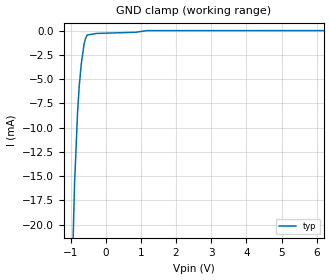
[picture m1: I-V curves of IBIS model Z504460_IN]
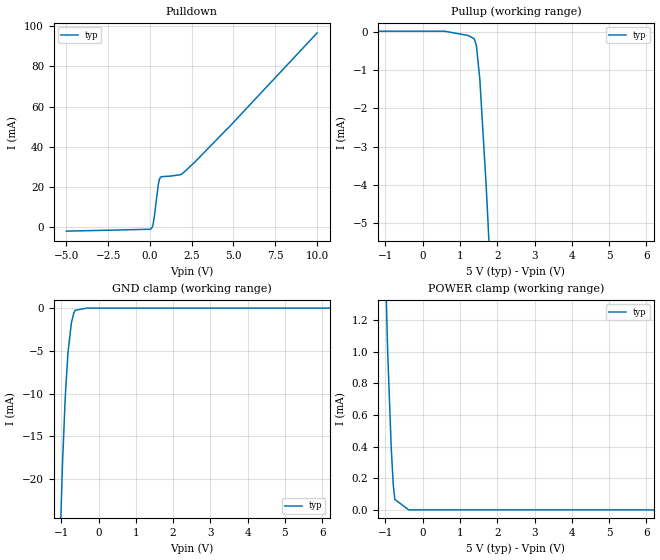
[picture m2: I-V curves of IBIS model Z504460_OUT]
| YOU ARE ONLY AUTHORIZED TO USE THIS SOFTWARE
| ACCORDING TO LICENSOR'S LICENSE RESTRICTIONS.
[IBIS Ver] 3.1
[File Name] sn54ls51j.ibs
[File Rev] 2.0
[Source] Measured and created by ICX Technology
[Date] Friday 7/14/00 9:08:15 AM
[Copyright]
| (C) COPYRIGHT 1993-2000
| MENTOR GRAPHICS CORPORATION
| ICX STANDARD LIBRARY, ICX PROJECT MODELING,
| ICX CUSTOM MODELING, ICX VENDOR MODEL
| ALL RIGHTS RESERVED.
| THE FOLLOWING ARE TRADEMARKS OR SERVICE MARKS OF
| MENTOR GRAPHICS CORPORATION:ICX (R), ICX STANDARD
| LIBRARY(R), ICX PROJECT MODELING(R), ICX CUSTOM
| MODELING(R), qualityIBIS(TM), MODELVIEWER(TM),
| AND MODELEDITOR(TM)
| ALL COPIES OF SOFTWARE, INCLUDING BUT NOT LIMITED TO
| ANY MODIFICATIONS, ENHANCEMENTS OR DERIVATIVE WORKS,
| MUST CONTAIN ALL MENTOR GRAPHICS CORPORATION'S
| NOTICES AND LEGENDS, INCLUDING THOSE EMBEDDED IN
| SOFTWARE AND THOSE AFFIXED TO SOFTWARE MEDIUM
| AND CONTAINER, AS RECEIVED FROM MENTOR GRAPHICS
| CORPORATION.
|  ZAP Model Builder 2.7
[Component] SN54LS51J
[Manufacturer] OnSemiconductor
[Package]
| variable   typ   min   max
R_pkg  .21ohms NA NA
L_pkg  4.543nH NA NA
C_pkg  1.8pF NA NA
[Pin] signal_name  model_name  R_pin  L_pin C_pin
1 A0 Z504460_IN .22 6.757n 2.434p
2 A1 Z504460_IN .212 4.757n 1.941p
3 B1 Z504460_IN .204 3.257n 1.448p
4 C1 Z504460_IN .196 2.257n .955p
5 D1 Z504460_IN .204 3.257n 1.448p
6 _Y1 Z504460_OUT .212 4.757n 1.941p
7 GND GND .22 6.757n 2.434p
8 _Y0 Z504460_OUT .22 6.757n 2.434p
9 D0 Z504460_IN .212 4.757n 1.941p
10 E0 Z504460_IN .204 3.257n 1.448p
11 F0 Z504460_IN .196 2.257n .955p
12 B0 Z504460_IN .204 3.257n 1.448p
13 C0 Z504460_IN .212 4.757n 1.941p
14 VCC POWER .22 6.757n 2.434p
| Models and submodels in the file (2): Z504460_IN (Input), Z504460_OUT (Output)
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| (C) COPYRIGHT 1993-2000
| MENTOR GRAPHICS CORPORATION
| ICX STANDARD LIBRARY, ICX PROJECT MODELING,
| ICX CUSTOM MODELING, ICX VENDOR MODEL
| ALL RIGHTS RESERVED.
| THE FOLLOWING ARE TRADEMARKS OR SERVICE MARKS OF
| MENTOR GRAPHICS CORPORATION:ICX (R), ICX STANDARD
| LIBRARY(R), ICX PROJECT MODELING(R), ICX CUSTOM
| MODELING(R), qualityIBIS(TM), MODELVIEWER(TM),
| AND MODELEDITOR(TM)
| ALL COPIES OF SOFTWARE, INCLUDING BUT NOT LIMITED TO
| ANY MODIFICATIONS, ENHANCEMENTS OR DERIVATIVE WORKS,
| MUST CONTAIN ALL MENTOR GRAPHICS CORPORATION'S
| NOTICES AND LEGENDS, INCLUDING THOSE EMBEDDED IN
| SOFTWARE AND THOSE AFFIXED TO SOFTWARE MEDIUM
| AND CONTAINER, AS RECEIVED FROM MENTOR GRAPHICS
| CORPORATION.
| Model Application Version 1.89 2/18/99.
[Model] Z504460_IN
Model_type Input
Vinl = 800.0mV
Vinh = 2.000V
C_comp 4.000pF NA NA
| variable typ   min   max
[Voltage Range] 5.000V NA NA
[GND Clamp Reference] 0.000V NA NA
[POWER Clamp Reference] 5.000V NA NA
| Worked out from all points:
|   GND clamp passes 1 mA (typ) near -0.59 V on its own axis
[GND Clamp]
-5V       -591.5mA   NA         NA
-887.1mV  -15.85mA   NA         NA
-800.7mV  -8.436mA   NA         NA
-751.8mV  -5.644mA   NA         NA
-694mV    -3.408mA   NA         NA
-614.9mV  -1.37mA    NA         NA
-581.1mV  -869.2uA   NA         NA
-527.3mV  -454.2uA   NA         NA
-263.7mV  -295uA     NA         NA
849.5mV   -170uA     NA         NA
1.168V    -2.923uA   NA         NA
10V       2.983uA    NA         NA
[POWER Clamp]
-5V       0A         NA         NA
10V       0A         NA         NA
| (C) COPYRIGHT 1993-2000
| MENTOR GRAPHICS CORPORATION
| ICX STANDARD LIBRARY, ICX PROJECT MODELING,
| ICX CUSTOM MODELING, ICX VENDOR MODEL
| ALL RIGHTS RESERVED.
| THE FOLLOWING ARE TRADEMARKS OR SERVICE MARKS OF
| MENTOR GRAPHICS CORPORATION:ICX (R), ICX STANDARD
| LIBRARY(R), ICX PROJECT MODELING(R), ICX CUSTOM
| MODELING(R), qualityIBIS(TM), MODELVIEWER(TM),
| AND MODELEDITOR(TM)
| ALL COPIES OF SOFTWARE, INCLUDING BUT NOT LIMITED TO
| ANY MODIFICATIONS, ENHANCEMENTS OR DERIVATIVE WORKS,
| MUST CONTAIN ALL MENTOR GRAPHICS CORPORATION'S
| NOTICES AND LEGENDS, INCLUDING THOSE EMBEDDED IN
| SOFTWARE AND THOSE AFFIXED TO SOFTWARE MEDIUM
| AND CONTAINER, AS RECEIVED FROM MENTOR GRAPHICS
| CORPORATION.
| Model Application Version 1.89 2/18/99.
[Model] Z504460_OUT
Model_type Output
Vref=5.000V
Rref=2.000kohms
Cref=15.00pF
Vmeas=1.300V
C_comp 8.000pF NA NA
| variable typ   min   max
[Voltage Range] 5.000V NA NA
[POWER Clamp Reference] 5.000V NA NA
[Pullup Reference] 5.000V NA NA
[Pulldown Reference] 0.000V NA NA
[GND Clamp Reference] 0.000V NA NA
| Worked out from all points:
|   slope of the pulldown table from 0 to 0.75 V, typ, clamps not added: 28.7 ohm
|   slope of the pullup table from 0 to 0.75 V, typ, clamps not added: 25.6 kohm
|   GND clamp passes 1 mA (typ) near -0.69 V on its own axis
[GND Clamp]
-5V       -976.9mA   NA         NA
-1.201V   -59.02mA   NA         NA
-1.035V   -27.77mA   NA         NA
-966.8mV  -18.16mA   NA         NA
-893.4mV  -10.41mA   NA         NA
-820.3mV  -5.223mA   NA         NA
-727.5mV  -1.717mA   NA         NA
-664.1mV  -581.6uA   NA         NA
-625mV    -263.9uA   NA         NA
-312.5mV  0A         NA         NA
10V       0A         NA         NA
[Pulldown]
-5V       -1.901mA   NA         NA
48.83mV   -842.1uA   NA         NA
151.4mV   269.2uA    NA         NA
189.1mV   1.478mA    NA         NA
263.2mV   5.375mA    NA         NA
503mV     21.34mA    NA         NA
564.4mV   23.66mA    NA         NA
620.5mV   24.7mA     NA         NA
1.855V    26.2mA     NA         NA
2.035V    27.33mA    NA         NA
4.683V    49.34mA    NA         NA
10V       96.53mA    NA         NA
[Pullup]
-5V       15.52uA    NA         NA
586mV     15.52uA    NA         NA
1.221V    -97.89uA   NA         NA
1.382V    -181.4uA   NA         NA
1.44V     -355.2uA   NA         NA
1.533V    -1.246mA   NA         NA
1.704V    -4.042mA   NA         NA
10V       -166.2mA   NA         NA
[POWER Clamp]
-5V       36.66mA    NA         NA
-938mV    980.3uA    NA         NA
-845mV    391.1uA    NA         NA
-790mV    155.3uA    NA         NA
-747mV    65.08uA    NA         NA
-373.5mV  0A         NA         NA
10V       0A         NA         NA
[Ramp]
| variable typ min max
dV/dt_r 1.839/12.14n NA NA
dV/dt_f 1.839/1.490n NA NA
R_load = 500.0Ohms
